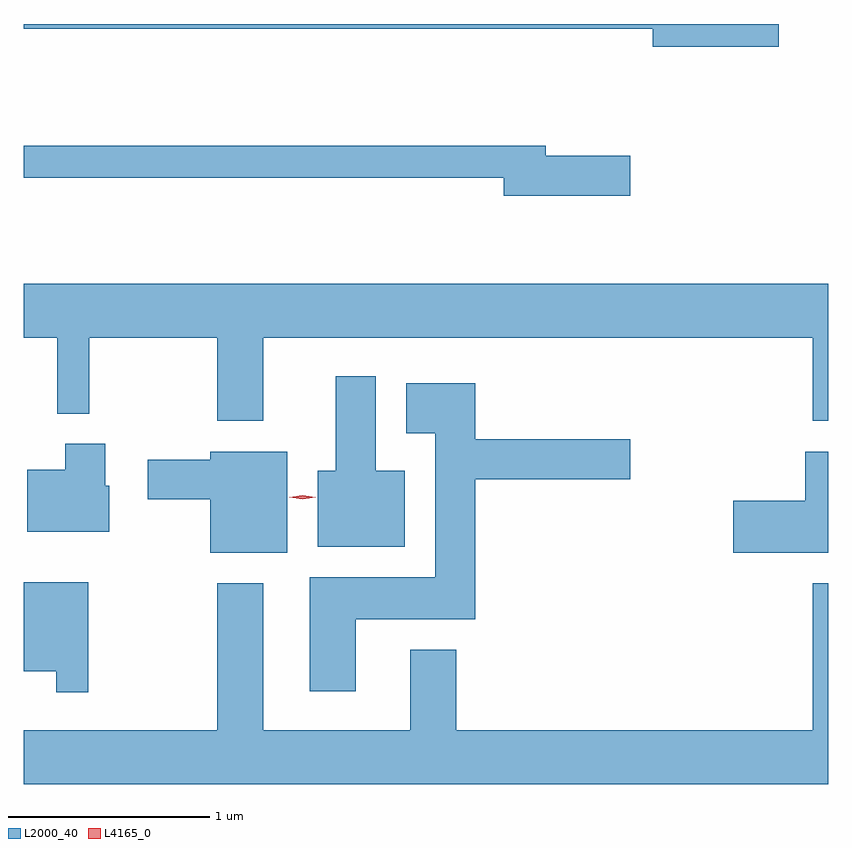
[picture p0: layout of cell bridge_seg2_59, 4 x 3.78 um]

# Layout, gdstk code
import gdstk
lib = gdstk.Library(unit=1e-6, precision=1e-09)
def P(c, l, *ps):  # polygons
    for p in ps: c.add(gdstk.Polygon(p, *l))
L2000_40 = (2000, 40)
L4165_0 = (4165, 0)

bridge_seg2_59 = lib.new_cell('bridge_seg2_59')
P(bridge_seg2_59, L2000_40, [(1291.484,1069.855),(1287.729,1069.855),(1287.729,1069.831),(1290.856,1069.831),(1290.856,1069.741),(1291.484,1069.741)],
  [(1290.744,1069.199),(1290.324,1069.199),(1290.324,1069.249),(1287.729,1069.249),(1287.729,1069.091),(1290.116,1069.091),(1290.116,1069.001),(1290.744,1069.001)],
  [(1288.919,1068.296),(1291.651,1068.296),(1291.651,1067.881),(1291.729,1067.881),(1291.729,1068.564),(1287.729,1068.564),(1287.729,1068.296),(1287.896,1068.296),(1287.896,1067.918),(1288.054,1067.918),(1288.054,1068.296),(1288.691,1068.296),(1288.691,1067.881),(1288.919,1067.881)],
  [(1289.624,1067.634),(1289.479,1067.634),(1289.479,1068.104),(1289.281,1068.104),(1289.281,1067.634),(1289.191,1067.634),(1289.191,1067.256),(1289.624,1067.256)],
  [(1289.379,1066.896),(1289.974,1066.896),(1289.974,1067.591),(1290.744,1067.591),(1290.744,1067.789),(1289.974,1067.789),(1289.974,1068.069),(1289.631,1068.069),(1289.631,1067.821),(1289.776,1067.821),(1289.776,1067.104),(1289.151,1067.104),(1289.151,1066.536),(1289.379,1066.536)],
  [(1288.154,1067.559),(1288.134,1067.559),(1288.134,1067.769),(1287.936,1067.769),(1287.936,1067.639),(1287.746,1067.639),(1287.746,1067.331),(1288.154,1067.331)],
  [(1291.729,1067.729),(1291.616,1067.729),(1291.616,1067.484),(1291.256,1067.484),(1291.256,1067.226),(1291.729,1067.226)],
  [(1289.039,1067.729),(1288.656,1067.729),(1288.656,1067.689),(1288.346,1067.689),(1288.346,1067.491),(1288.656,1067.491),(1288.656,1067.226),(1289.039,1067.226)],
  [(1288.049,1067.079),(1287.729,1067.079),(1287.729,1066.636),(1287.891,1066.636),(1287.891,1066.533),(1288.049,1066.533)],
  [(1291.729,1067.074),(1291.651,1067.074),(1291.651,1066.344),(1289.879,1066.344),(1289.879,1066.744),(1289.651,1066.744),(1289.651,1066.344),(1288.919,1066.344),(1288.919,1067.074),(1288.691,1067.074),(1288.691,1066.344),(1287.729,1066.344),(1287.729,1066.076),(1291.729,1066.076)])
P(bridge_seg2_59, L4165_0, [(1289.116,1067.492),(1289.05,1067.501),(1289.049,1067.502),(1289.05,1067.502),(1289.116,1067.512),(1289.181,1067.503),(1289.182,1067.502),(1289.181,1067.502)])

lib.write_gds('bridge_seg2_59.gds')
